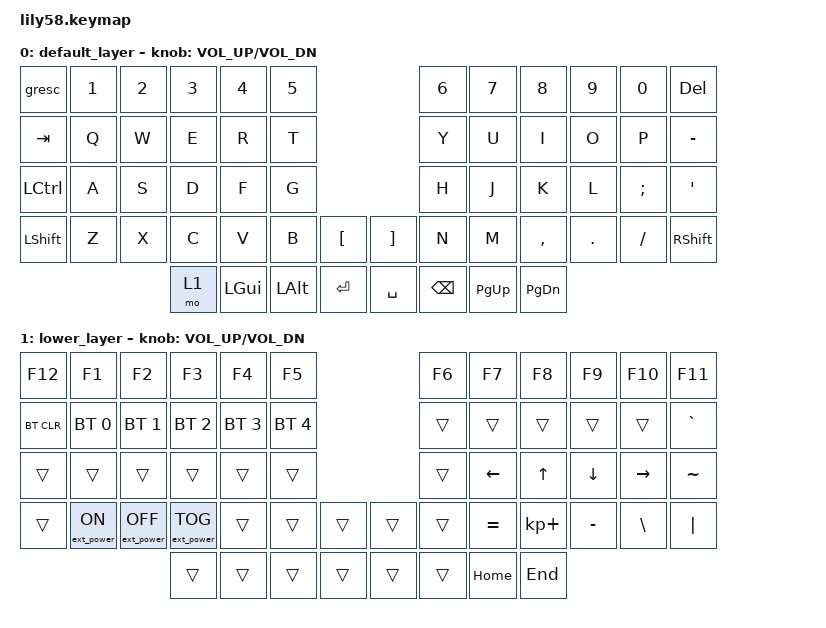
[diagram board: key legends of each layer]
/*
 * Copyright (c) 2020 The ZMK Contributors
 *
 * SPDX-License-Identifier: MIT
 */

#include <behaviors.dtsi>
#include <dt-bindings/zmk/keys.h>
#include <dt-bindings/zmk/bt.h>
#include <dt-bindings/zmk/ext_power.h>

/ {
	keymap {
		compatible = "zmk,keymap";

		default_layer {
// ------------------------------------------------------------------------------------------------------------
// | ESC/~ |  1  |  2  |  3   |  4   |  5   |                   |  6   |  7    |  8    |  9   |   0   |DELETE |
// |  TAB  |  Q  |  W  |  E   |  R   |  T   |                   |  Y   |  U    |  I    |  O   |   P   |   -   |
// |  CTRL |  A  |  S  |  D   |  F   |  G   |                   |  H   |  J    |  K    |  L   |   ;   |   '   |
// | SHIFT |  Z  |  X  |  C   |  V   |  B   |   "["  |  |  "]"  |  N   |  M    |  ,    |  .   |   /   | SHIFT |
//                     |LOWER | GUI  | ALT  |  ENTER |  | SPACE | BSPC |  PGUP | PGDN  |
			bindings = <
&gresc    &kp N1 &kp N2 &kp N3 &kp N4   &kp N5                        &kp N6   &kp N7    &kp N8    &kp N9  &kp N0   &kp DEL
&kp TAB   &kp Q  &kp W  &kp E  &kp R    &kp T                         &kp Y    &kp U     &kp I     &kp O   &kp P    &kp MINUS
&kp LCTRL &kp A  &kp S  &kp D  &kp F    &kp G                         &kp H    &kp J     &kp K     &kp L   &kp SEMI &kp SQT
&kp LSHFT &kp Z  &kp X  &kp C  &kp V    &kp B    &kp LBKT   &kp RBKT  &kp N    &kp M     &kp COMMA &kp DOT &kp FSLH &kp RSHFT
                        &mo 1  &kp LGUI &kp LALT &kp RET    &kp SPACE &kp BSPC &kp PG_UP &kp PG_DN
			>;

			sensor-bindings = <&inc_dec_kp C_VOL_UP C_VOL_DN>;
		};

		lower_layer {
// ------------------------------------------------------------------------------------------------------------
// |  F12  |  F1 |  F2 |  F3  |  F4  |  F5  |                   |  F6  |   F7  |  F8   |  F9   |  F10 |  F11  |
// | BTCLR | BT1 | BT2 |  BT3 |  BT4 |  BT5 |                   |      |       |       |      |       |   `   |
// |       |     |     |      |      |      |                   |      | LEFT  |  UP   | DOWN | RIGHT |   ~   |
// |       | ON  | OFF |TOGGLE|      |      |        |  |       |      |   =   |  +    |  -   |   \   |  "|"  |
//                     |      |      |      |        |  |       |      | HOME  |  END  |
			bindings = <
&kp F12    &kp F1           &kp F2            &kp F3            &kp F4       &kp F5                     &kp F6 &kp F7    &kp F8      &kp F9      &kp F10   &kp F11   
&bt BT_CLR &bt BT_SEL 0     &bt BT_SEL 1      &bt BT_SEL 2      &bt BT_SEL 3 &bt BT_SEL 4               &trans &trans    &trans      &trans      &trans    &kp GRAVE
&trans     &trans           &trans            &trans            &trans       &trans                     &trans &kp LEFT  &kp UP      &kp DOWN    &kp RIGHT &kp TILDE
&trans     &ext_power EP_ON &ext_power EP_OFF &ext_power EP_TOG &trans       &trans &trans       &trans &trans &kp EQUAL &kp KP_PLUS &kp MINUS   &kp BSLH  &kp PIPE
                                              &trans            &trans       &trans &trans       &trans &trans &kp HOME  &kp END
			>;

			sensor-bindings = <&inc_dec_kp C_VOL_UP C_VOL_DN>;
		};
	};
};
